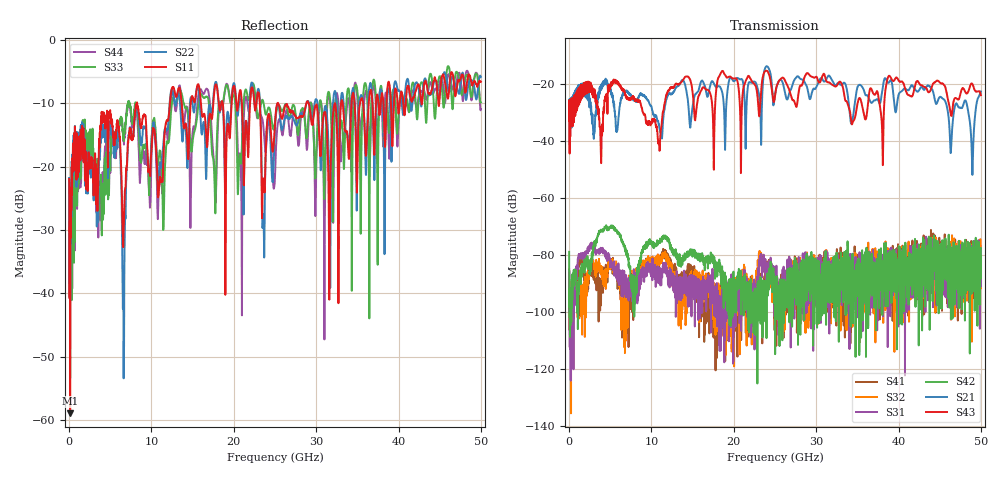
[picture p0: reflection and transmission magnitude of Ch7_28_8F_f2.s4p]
!Agilent Technologies,N5247A,US51170199,A.09.90.13
!Agilent N5247A: A.09.90.13
!Date: Wednesday, December 09, 2015 09:38:09
!Correction: S11(Full 4 Port(1,2,3,4))
!S12(Full 4 Port(1,2,3,4))
!S13(Full 4 Port(1,2,3,4))
!S14(Full 4 Port(1,2,3,4))
!S21(Full 4 Port(1,2,3,4))
!S22(Full 4 Port(1,2,3,4))
!S23(Full 4 Port(1,2,3,4))
!S24(Full 4 Port(1,2,3,4))
!S31(Full 4 Port(1,2,3,4))
!S32(Full 4 Port(1,2,3,4))
!S33(Full 4 Port(1,2,3,4))
!S34(Full 4 Port(1,2,3,4))
!S41(Full 4 Port(1,2,3,4))
!S42(Full 4 Port(1,2,3,4))
!S43(Full 4 Port(1,2,3,4))
!S44(Full 4 Port(1,2,3,4))
!S4P File: Measurements: <S11,S12,S13,S14>,
!<S21,S22,S23,S24>,
!<S31,S32,S33,S34>,
!<S41,S42,S43,S44>:
# Hz S  dB  R 50
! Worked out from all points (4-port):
!   3201 points, 10 MHz to 50 GHz, reference 50 ohm
!   strongest paths, dB at 10 MHz, 12.51 GHz, 25 GHz, 37.5 GHz, 50 GHz:
!     S43: -33.0, -21.3, -24.2, -23.6, -24.1
!     S21: -32.5, -23.5, -24.2, -25.7, -22.8
!     S42: -78.9, -78.0, -90.8, -85.6, -77.7
!     S31: -92.3, -86.9, -88.3, -87.8, -83.7
!     S32: -85.8, -84.9, -92.9, -90.0, -86.2
!     S41: -85.1, -83.6, -96.7, -81.9, -87.0
!   lowest |S11| = -58.9 dB at 135 MHz (marker M1), VSWR 1.00, Z = 50 + j0.113 ohm
!   |S11| at or under -10 dB: start of sweep to 8.238 GHz; 8.267 GHz to 12.25 GHz (3.978 GHz wide, 38.8 % of centre); 29.06 GHz to 33.02 GHz (3.962 GHz wide, 12.8 % of centre)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
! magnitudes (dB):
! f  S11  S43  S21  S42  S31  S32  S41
! 10 MHz  -22.0  -33.0  -32.5  -78.9  -92.3  -85.8  -85.1
! 135 MHz  -58.9  -32.2  -32.8  -95.9  -96.5  -96.8  -97.4
! 24.04 GHz  -13.3  -15.6  -13.9  -93.4  -89.4  -86.8  -86.5
! 37.99 GHz  -8.4  -34.6  -23.2  -91.6  -86.3  -89.2  -84.3
! 38.86 GHz  -6.9  -17.3  -19.5  -83.0  -93.0  -83.2  -81.1
! 48.95 GHz  -7.2  -20.1  -51.3  -85.5  -78.1  -80.1  -87.8
! 50 GHz  -6.6  -24.1  -22.8  -77.7  -83.7  -86.2  -87.0
